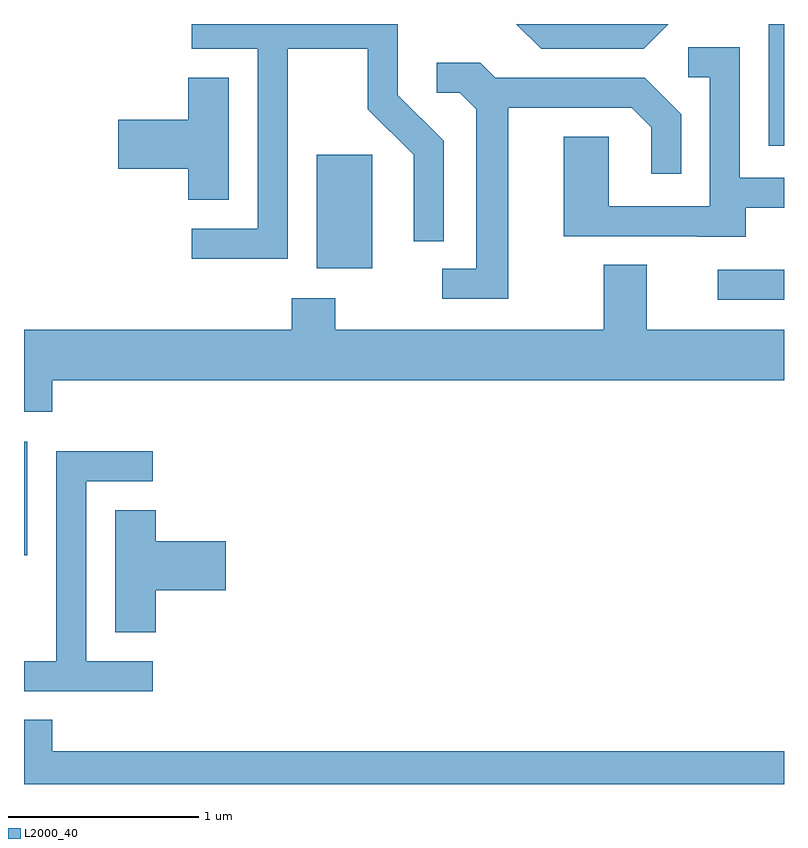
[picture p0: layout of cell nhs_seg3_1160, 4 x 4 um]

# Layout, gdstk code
import gdstk
lib = gdstk.Library(unit=1e-6, precision=1e-09)
def R(c, l, rs):  # rectangles x0, y0, x1, y1
    for r in rs: c.add(gdstk.rectangle(r[:2], r[2:], *l))
def P(c, l, *ps):  # polygons
    for p in ps: c.add(gdstk.Polygon(p, *l))
L2000_40 = (2000, 40)

nhs_seg3_1160 = lib.new_cell('nhs_seg3_1160')
R(nhs_seg3_1160, L2000_40, [(219.611,1125.096,219.629,1125.694), (223.263,1126.441,223.611,1126.599), (221.151,1126.606,221.444,1127.204), (223.531,1127.251,223.611,1127.892)])
P(nhs_seg3_1160, L2000_40, [(223.003,1127.892),(222.203,1127.892),(222.334,1127.761),(222.872,1127.761)],
  [(220.999,1127.761),(221.421,1127.761),(221.421,1127.444),(221.661,1127.204),(221.661,1126.748),(221.819,1126.748),(221.819,1127.277),(221.579,1127.517),(221.579,1127.892),(220.493,1127.892),(220.493,1127.761),(220.841,1127.761),(220.841,1126.814),(220.493,1126.814),(220.493,1126.656),(220.999,1126.656)],
  [(223.409,1126.926),(223.611,1126.926),(223.611,1127.084),(223.379,1127.084),(223.379,1127.769),(223.108,1127.769),(223.108,1127.611),(223.221,1127.611),(223.221,1126.934),(222.689,1126.934),(222.689,1127.299),(222.451,1127.299),(222.451,1126.776),(223.155,1126.776),(223.155,1126.771),(223.409,1126.771)],
  [(222.159,1127.451),(222.809,1127.451),(222.911,1127.349),(222.911,1127.103),(223.069,1127.103),(223.069,1127.417),(222.877,1127.609),(222.092,1127.609),(222.012,1127.689),(221.783,1127.689),(221.783,1127.531),(221.904,1127.531),(221.991,1127.444),(221.991,1126.604),(221.813,1126.604),(221.813,1126.446),(222.159,1126.446)],
  [(220.689,1127.609),(220.476,1127.609),(220.476,1127.389),(220.106,1127.389),(220.106,1127.131),(220.476,1127.131),(220.476,1126.966),(220.689,1126.966)],
  [(219.759,1126.016),(223.611,1126.016),(223.611,1126.284),(222.889,1126.284),(222.889,1126.624),(222.661,1126.624),(222.661,1126.284),(221.249,1126.284),(221.249,1126.449),(221.021,1126.449),(221.021,1126.284),(219.611,1126.284),(219.611,1125.851),(219.759,1125.851)],
  [(220.288,1124.539),(219.939,1124.539),(219.939,1125.486),(220.288,1125.486),(220.288,1125.644),(219.781,1125.644),(219.781,1124.539),(219.611,1124.539),(219.611,1124.381),(220.288,1124.381)],
  [(220.304,1124.911),(220.674,1124.911),(220.674,1125.169),(220.304,1125.169),(220.304,1125.334),(220.091,1125.334),(220.091,1124.691),(220.304,1124.691)],
  [(223.611,1124.064),(219.759,1124.064),(219.759,1124.229),(219.611,1124.229),(219.611,1123.892),(223.611,1123.892)])

lib.write_gds('nhs_seg3_1160.gds')
